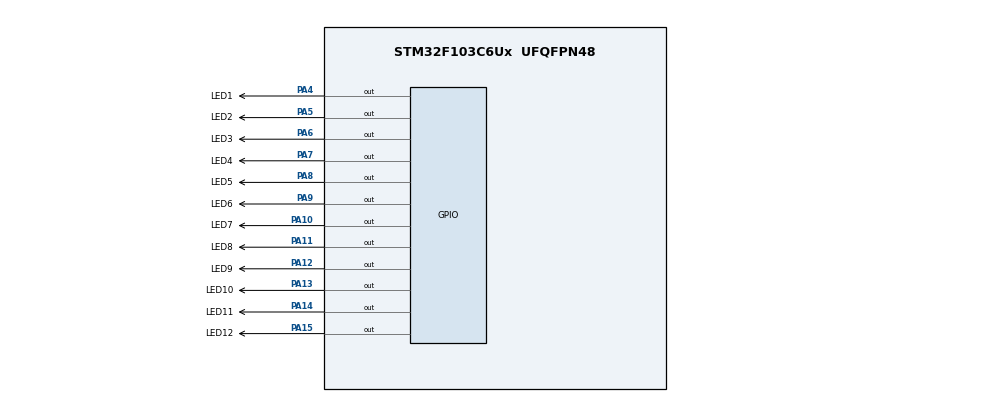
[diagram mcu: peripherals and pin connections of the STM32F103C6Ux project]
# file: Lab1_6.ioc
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Mcu.Family=STM32F1
Mcu.Name=STM32F103C6Ux
Mcu.Package=UFQFPN48
NVIC.PriorityGroup=NVIC_PRIORITYGROUP_4
PA10.GPIO_Label=LED7
PA10.Signal=GPIO_Output
PA11.GPIO_Label=LED8
PA11.Signal=GPIO_Output
PA12.GPIO_Label=LED9
PA12.Signal=GPIO_Output
PA13.GPIO_Label=LED10
PA13.Signal=GPIO_Output
PA14.GPIO_Label=LED11
PA14.Signal=GPIO_Output
PA15.GPIO_Label=LED12
PA15.Signal=GPIO_Output
PA4.GPIO_Label=LED1
PA4.Signal=GPIO_Output
PA5.GPIO_Label=LED2
PA5.Signal=GPIO_Output
PA6.GPIO_Label=LED3
PA6.Signal=GPIO_Output
PA7.GPIO_Label=LED4
PA7.Signal=GPIO_Output
PA8.GPIO_Label=LED5
PA8.Signal=GPIO_Output
PA9.GPIO_Label=LED6
PA9.Signal=GPIO_Output
ProjectManager.HeapSize=0x200
ProjectManager.StackSize=0x400
ProjectManager.TargetToolchain=STM32CubeIDE
RCC.APB1Freq_Value=8000000
RCC.APB2Freq_Value=8000000
board=custom

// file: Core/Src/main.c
/* USER CODE BEGIN Header */
/**
  ******************************************************************************
  * @file           : main.c
  * @brief          : Main program body
  ******************************************************************************
  * @attention
  *
  * Copyright (c) 2022 STMicroelectronics.
  * All rights reserved.
  *
  * This software is licensed under terms that can be found in the LICENSE file
  * in the root directory of this software component.
  * If no LICENSE file comes with this software, it is provided AS-IS.
  *
  ******************************************************************************
  */
/* USER CODE END Header */
#include "main.h"
#include "math.h"

void SystemClock_Config(void);
static void MX_GPIO_Init(void);

/* USER CODE BEGIN 0 */
void clearAllClock(void);
void setNumberOnClock(int num);
void clearNumberOnClock(int num);
/* USER CODE END 0 */

int main(void)
{

  /* MCU Configuration--------------------------------------------------------*/

  /* Reset of all peripherals, Initializes the Flash interface and the Systick. */
  HAL_Init();

  /* Configure the system clock */
  SystemClock_Config();

  /* Initialize all configured peripherals */
  MX_GPIO_Init();

  /* Infinite loop */
  /* USER CODE BEGIN WHILE */
  clearAllClock();

  int second = 0;
  int minute = 0;
  int hour = 0;

  while (1)
  {
    /* USER CODE END WHILE */
    /* USER CODE BEGIN 3 */
	  clearAllClock();

	  second++;
	  if (second >= 60){
		  second = 0;
		  minute ++;
	  }
	  if (minute >= 60){
		  minute = 0;
		  hour ++;
	  }
	  if (hour == 12){
		  hour = 0;
	 }
	  setNumberOnClock(second/5);
	  setNumberOnClock(minute/5);
	  setNumberOnClock(hour);
	  HAL_Delay(10);
  }
  /* USER CODE END 3 */
}
void clearAllClock(void){
	HAL_GPIO_WritePin(LED1_GPIO_Port, LED1_Pin, 1);
	HAL_GPIO_WritePin(LED1_GPIO_Port, LED2_Pin, 1);
	HAL_GPIO_WritePin(LED1_GPIO_Port, LED3_Pin, 1);
	HAL_GPIO_WritePin(LED1_GPIO_Port, LED4_Pin, 1);
	HAL_GPIO_WritePin(LED1_GPIO_Port, LED5_Pin, 1);
	HAL_GPIO_WritePin(LED1_GPIO_Port, LED6_Pin, 1);
	HAL_GPIO_WritePin(LED1_GPIO_Port, LED7_Pin, 1);
	HAL_GPIO_WritePin(LED1_GPIO_Port, LED8_Pin, 1);
	HAL_GPIO_WritePin(LED1_GPIO_Port, LED9_Pin, 1);
 	HAL_GPIO_WritePin(LED1_GPIO_Port, LED10_Pin, 1);
 	HAL_GPIO_WritePin(LED1_GPIO_Port, LED11_Pin, 1);
 	HAL_GPIO_WritePin(LED1_GPIO_Port, LED12_Pin, 1);

}
void setNumberOnClock(int num){
	//num = ceil((num+2)/3);
	if (num==0) HAL_GPIO_WritePin(LED1_GPIO_Port, LED1_Pin, 0);
	if (num==1) HAL_GPIO_WritePin(LED1_GPIO_Port, LED2_Pin, 0);
	if (num==2) HAL_GPIO_WritePin(LED1_GPIO_Port, LED3_Pin, 0);
	if (num==3) HAL_GPIO_WritePin(LED1_GPIO_Port, LED4_Pin, 0);
	if (num==4) HAL_GPIO_WritePin(LED1_GPIO_Port, LED5_Pin, 0);
	if (num==5) HAL_GPIO_WritePin(LED1_GPIO_Port, LED6_Pin, 0);
	if (num==6) HAL_GPIO_WritePin(LED1_GPIO_Port, LED7_Pin, 0);
	if (num==7) HAL_GPIO_WritePin(LED1_GPIO_Port, LED8_Pin, 0);
	if (num==8) HAL_GPIO_WritePin(LED1_GPIO_Port, LED9_Pin, 0);
	if (num==9) HAL_GPIO_WritePin(LED1_GPIO_Port, LED10_Pin, 0);
	if (num==10) HAL_GPIO_WritePin(LED1_GPIO_Port, LED11_Pin, 0);
	if (num==11) HAL_GPIO_WritePin(LED1_GPIO_Port, LED12_Pin, 0);
}
void clearNumberOnClock(int num){
	if (num==0) HAL_GPIO_WritePin(LED1_GPIO_Port, LED1_Pin, 1);
	if (num==1) HAL_GPIO_WritePin(LED1_GPIO_Port, LED2_Pin, 1);
	if (num==2) HAL_GPIO_WritePin(LED1_GPIO_Port, LED3_Pin, 1);
	if (num==3) HAL_GPIO_WritePin(LED1_GPIO_Port, LED4_Pin, 1);
	if (num==4) HAL_GPIO_WritePin(LED1_GPIO_Port, LED5_Pin, 1);
	if (num==5) HAL_GPIO_WritePin(LED1_GPIO_Port, LED6_Pin, 1);
	if (num==6) HAL_GPIO_WritePin(LED1_GPIO_Port, LED7_Pin, 1);
	if (num==7) HAL_GPIO_WritePin(LED1_GPIO_Port, LED8_Pin, 1);
	if (num==8) HAL_GPIO_WritePin(LED1_GPIO_Port, LED9_Pin, 1);
	if (num==9) HAL_GPIO_WritePin(LED1_GPIO_Port, LED10_Pin, 1);
	if (num==10) HAL_GPIO_WritePin(LED1_GPIO_Port, LED11_Pin, 1);
	if (num==11) HAL_GPIO_WritePin(LED1_GPIO_Port, LED12_Pin, 1);
}
void SystemClock_Config(void)
{
  RCC_OscInitTypeDef RCC_OscInitStruct = {0};
  RCC_ClkInitTypeDef RCC_ClkInitStruct = {0};

  /** Initializes the RCC Oscillators according to the specified parameters
  * in the RCC_OscInitTypeDef structure.
  */
  RCC_OscInitStruct.OscillatorType = RCC_OSCILLATORTYPE_HSI;
  RCC_OscInitStruct.HSIState = RCC_HSI_ON;
  RCC_OscInitStruct.HSICalibrationValue = RCC_HSICALIBRATION_DEFAULT;
  RCC_OscInitStruct.PLL.PLLState = RCC_PLL_NONE;
  if (HAL_RCC_OscConfig(&RCC_OscInitStruct) != HAL_OK)
  {
    Error_Handler();
  }

  /** Initializes the CPU, AHB and APB buses clocks
  */
  RCC_ClkInitStruct.ClockType = RCC_CLOCKTYPE_HCLK|RCC_CLOCKTYPE_SYSCLK
                              |RCC_CLOCKTYPE_PCLK1|RCC_CLOCKTYPE_PCLK2;
  RCC_ClkInitStruct.SYSCLKSource = RCC_SYSCLKSOURCE_HSI;
  RCC_ClkInitStruct.AHBCLKDivider = RCC_SYSCLK_DIV1;
  RCC_ClkInitStruct.APB1CLKDivider = RCC_HCLK_DIV1;
  RCC_ClkInitStruct.APB2CLKDivider = RCC_HCLK_DIV1;

  if (HAL_RCC_ClockConfig(&RCC_ClkInitStruct, FLASH_LATENCY_0) != HAL_OK)
  {
    Error_Handler();
  }
}

static void MX_GPIO_Init(void)
{
  GPIO_InitTypeDef GPIO_InitStruct = {0};

  /* GPIO Ports Clock Enable */
  __HAL_RCC_GPIOA_CLK_ENABLE();

  /*Configure GPIO pin Output Level */
  HAL_GPIO_WritePin(GPIOA, LED1_Pin|LED2_Pin|LED3_Pin|LED4_Pin
                          |LED5_Pin|LED6_Pin|LED7_Pin|LED8_Pin
                          |LED9_Pin|LED10_Pin|LED11_Pin|LED12_Pin, GPIO_PIN_RESET);

  /*Configure GPIO pins : LED1_Pin LED2_Pin LED3_Pin LED4_Pin
                           LED5_Pin LED6_Pin LED7_Pin LED8_Pin
                           LED9_Pin LED10_Pin LED11_Pin LED12_Pin */
  GPIO_InitStruct.Pin = LED1_Pin|LED2_Pin|LED3_Pin|LED4_Pin
                          |LED5_Pin|LED6_Pin|LED7_Pin|LED8_Pin
                          |LED9_Pin|LED10_Pin|LED11_Pin|LED12_Pin;
  GPIO_InitStruct.Mode = GPIO_MODE_OUTPUT_PP;
  GPIO_InitStruct.Pull = GPIO_NOPULL;
  GPIO_InitStruct.Speed = GPIO_SPEED_FREQ_LOW;
  HAL_GPIO_Init(GPIOA, &GPIO_InitStruct);

}

void Error_Handler(void)
{
  __disable_irq();
  while (1)
  {
  }
}
